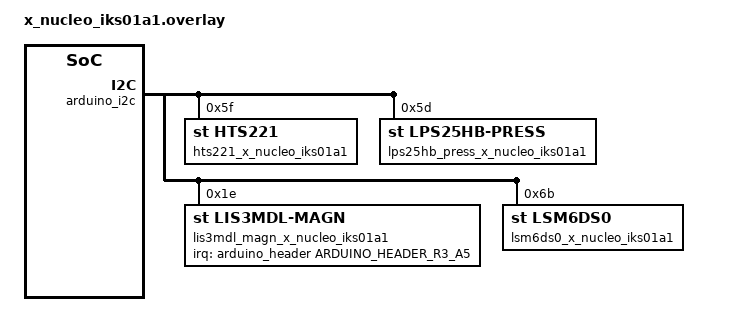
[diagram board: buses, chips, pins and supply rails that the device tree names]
/*
 *
 * Copyright (c) 2018 Linaro Limited
 *
 * SPDX-License-Identifier: Apache-2.0
 */

#include <zephyr/dt-bindings/gpio/arduino-header-r3.h>

/ {
	aliases {
		accel0 = &lsm6ds0_x_nucleo_iks01a1;
	};
};

&arduino_i2c {

	hts221_x_nucleo_iks01a1: hts221@5f {
		compatible = "st,hts221";
		reg = <0x5f>;
	};

	lps25hb_press_x_nucleo_iks01a1: lps25hb-press@5d {
		compatible = "st,lps25hb-press";
		reg = <0x5d>;
	};

	lis3mdl_magn_x_nucleo_iks01a1: lis3mdl-magn@1e {
		compatible = "st,lis3mdl-magn";
		reg = <0x1e>;
		irq-gpios = <&arduino_header ARDUINO_HEADER_R3_A5 GPIO_ACTIVE_HIGH>;
	};

	lsm6ds0_x_nucleo_iks01a1: lsm6ds0@6b {
		compatible = "st,lsm6ds0";
		reg = <0x6b>;
	};
};
